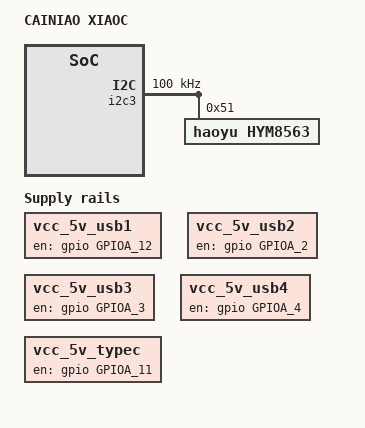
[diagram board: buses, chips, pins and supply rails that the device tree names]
#include "coreelec_g12b.dtsi"

/{
	model = "CAINIAO XIAOC";
	coreelec-dt-id = "g12b_a311d_cainiao_xiaoc";

	/delete-node/ memory@00000000;

	cvbsout {
		status = "disabled";
	};

	/delete-node/ gpioleds;
	/delete-node/ adc_keypad;
	gpio_keypad {
		key-gpios = <&gpio_ao GPIOAO_3 GPIO_ACTIVE_LOW>;
	};

	/delete-node/ rtc;

	auge_sound {
		/delete-property/ avout_mute-gpios;
	};

	/* HDMI USB1 USB2 USB3 USB4 Type-C */
	regulator-vcc-5v-usb1 {
		compatible = "regulator-fixed";
		enable-active-high;
		gpio = <&gpio GPIOA_12 GPIO_ACTIVE_HIGH>;
		regulator-name = "vcc_5v_usb1";
		regulator-always-on;
		regulator-boot-on;
	};

	regulator-vcc-5v-usb2 {
		compatible = "regulator-fixed";
		enable-active-high;
		gpio = <&gpio GPIOA_2 GPIO_ACTIVE_HIGH>;
		regulator-name = "vcc_5v_usb2";
		regulator-always-on;
		regulator-boot-on;
	};

	regulator-vcc-5v-usb3 {
		compatible = "regulator-fixed";
		enable-active-high;
		gpio = <&gpio GPIOA_3 GPIO_ACTIVE_HIGH>;
		regulator-name = "vcc_5v_usb3";
		regulator-always-on;
		regulator-boot-on;
	};

	regulator-vcc-5v-usb4 {
		compatible = "regulator-fixed";
		enable-active-high;
		gpio = <&gpio GPIOA_4 GPIO_ACTIVE_HIGH>;
		regulator-name = "vcc_5v_usb4";
		regulator-always-on;
		regulator-boot-on;
	};

	regulator-vcc-5v-typec {
		compatible = "regulator-fixed";
		enable-active-high;
		gpio = <&gpio GPIOA_11 GPIO_ACTIVE_HIGH>;
		regulator-name = "vcc_5v_typec";
		regulator-always-on;
		regulator-boot-on;
	};
};

&ethmac {
	auto_cali_idx = <1>;
};

&i2c3 {
	status = "okay";
	pinctrl-names="default";
	pinctrl-0=<&i2c3_master_pins2>;
	clock-frequency = <100000>;

	hym8563: rtc@51 {
		compatible = "haoyu,hym8563";
		reg = <0x51>;
		#clock-cells = <0>;
	};
};

&pwm_ef {
	pinctrl-names = "default";
	pinctrl-0 = <&pwm_f_pins1>;
};

&usb3_phy_v2 {
	/delete-property/ gpio-vbus-power;
	/delete-property/ gpios;
	otg = <1>;
};

&pcie_A {
	status = "disabled";
};
